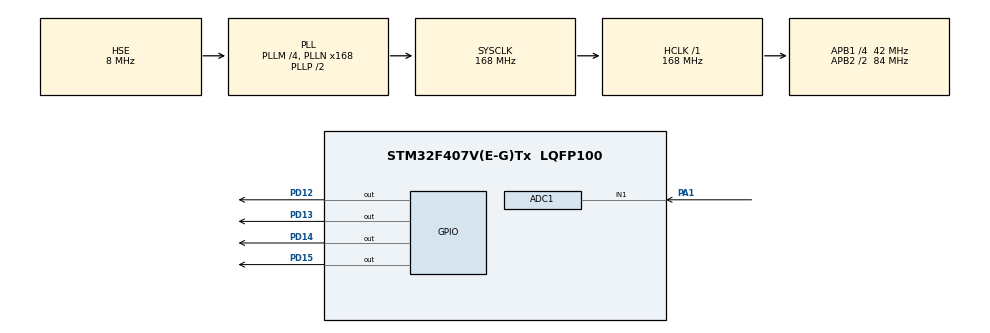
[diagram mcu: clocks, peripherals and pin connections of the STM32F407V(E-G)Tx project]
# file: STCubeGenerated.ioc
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ADC1.Channel-0\#ChannelRegularConversion=ADC_CHANNEL_1
ADC1.Channel-1\#ChannelRegularConversion=ADC_CHANNEL_1
ADC1.ContinuousConvMode=ENABLE
ADC1.NbrOfConversion=2
ADC1.NbrOfConversionFlag=1
ADC1.Rank-0\#ChannelRegularConversion=1
ADC1.Rank-1\#ChannelRegularConversion=2
ADC1.Resolution=ADC_RESOLUTION_10B
ADC1.SamplingTime-0\#ChannelRegularConversion=ADC_SAMPLETIME_3CYCLES
ADC1.SamplingTime-1\#ChannelRegularConversion=ADC_SAMPLETIME_3CYCLES
ADC1.ScanConvMode=ENABLE
ADC1.master=1
Mcu.Family=STM32F4
Mcu.Name=STM32F407V(E-G)Tx
Mcu.Package=LQFP100
NVIC.PriorityGroup=NVIC_PRIORITYGROUP_4
PA1.Signal=ADCx_IN1
PD12.Signal=GPIO_Output
PD13.Signal=GPIO_Output
PD14.Signal=GPIO_Output
PD15.Signal=GPIO_Output
PH0-OSC_IN.Mode=HSE-External-Oscillator
PH0-OSC_IN.Signal=RCC_OSC_IN
PH1-OSC_OUT.Mode=HSE-External-Oscillator
PH1-OSC_OUT.Signal=RCC_OSC_OUT
ProjectManager.HeapSize=0x200
ProjectManager.StackSize=0x400
ProjectManager.TargetToolchain=MDK-ARM V5
RCC.48MHZClocksFreq_Value=84000000
RCC.AHBFreq_Value=168000000
RCC.APB1CLKDivider=RCC_HCLK_DIV4
RCC.APB1Freq_Value=42000000
RCC.APB1TimFreq_Value=84000000
RCC.APB2CLKDivider=RCC_HCLK_DIV2
RCC.APB2Freq_Value=84000000
RCC.APB2TimFreq_Value=168000000
RCC.CortexFreq_Value=168000000
RCC.HCLKFreq_Value=168000000
RCC.HSE_VALUE=8000000
RCC.HSI_VALUE=16000000
RCC.LSE_VALUE=32768
RCC.PLLM=4
RCC.PLLN=168
RCC.PLLSourceVirtual=RCC_PLLSOURCE_HSE
RCC.SYSCLKFreq_VALUE=168000000
RCC.SYSCLKSource=RCC_SYSCLKSOURCE_PLLCLK
RCC.VCOOutputFreq_Value=336000000
SH.ADCx_IN1.0=ADC1_IN1,IN1
board=custom

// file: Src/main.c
/* USER CODE BEGIN Header */
/**
  ******************************************************************************
  * @file           : main.c
  * @brief          : Main program body
  ******************************************************************************
  * @attention
  *
  * Copyright (c) 2023 STMicroelectronics.
  * All rights reserved.
  *
  * This software is licensed under terms that can be found in the LICENSE file
  * in the root directory of this software component.
  * If no LICENSE file comes with this software, it is provided AS-IS.
  *
  ******************************************************************************
  */
/* USER CODE END Header */
#include "main.h"

ADC_HandleTypeDef hadc1;

void SystemClock_Config(void);
static void MX_GPIO_Init(void);
static void MX_ADC1_Init(void);

int main(void)
{

  /* MCU Configuration--------------------------------------------------------*/

  /* Reset of all peripherals, Initializes the Flash interface and the Systick. */
  HAL_Init();

  /* Configure the system clock */
  SystemClock_Config();

  /* Initialize all configured peripherals */
  MX_GPIO_Init();
  MX_ADC1_Init();

  /* Infinite loop */
  /* USER CODE BEGIN WHILE */
	uint32_t adcValue;

  while (1)
  {

		HAL_ADC_Start(&hadc1);
		HAL_ADC_PollForConversion(&hadc1, 100);
		adcValue=HAL_ADC_GetValue(&hadc1);
		HAL_ADC_Stop(&hadc1);

		// direncde max 1 volt var
		if (adcValue<50) {
				HAL_GPIO_WritePin(GPIOD, GPIO_PIN_12, 1);
			  HAL_GPIO_WritePin(GPIOD, GPIO_PIN_13|GPIO_PIN_14|GPIO_PIN_15, 0);
		} else if (adcValue<100) {
				HAL_GPIO_WritePin(GPIOD, GPIO_PIN_13, 1);
			  HAL_GPIO_WritePin(GPIOD, GPIO_PIN_12|GPIO_PIN_14|GPIO_PIN_15, 0);
		} else if (adcValue<150) {
				HAL_GPIO_WritePin(GPIOD, GPIO_PIN_14, 1);
			  HAL_GPIO_WritePin(GPIOD, GPIO_PIN_12|GPIO_PIN_13|GPIO_PIN_15, 0);
		} else if (adcValue<512) {
				HAL_GPIO_WritePin(GPIOD, GPIO_PIN_15, 1);
			  HAL_GPIO_WritePin(GPIOD, GPIO_PIN_12|GPIO_PIN_13|GPIO_PIN_14, 0);
		} else {
			  HAL_GPIO_WritePin(GPIOD, GPIO_PIN_12|GPIO_PIN_13|GPIO_PIN_14, 1);
		}

		HAL_Delay(100);

    /* USER CODE END WHILE */

  }
}

void SystemClock_Config(void)
{
  RCC_OscInitTypeDef RCC_OscInitStruct = {0};
  RCC_ClkInitTypeDef RCC_ClkInitStruct = {0};

  /** Configure the main internal regulator output voltage
  */
  __HAL_RCC_PWR_CLK_ENABLE();
  __HAL_PWR_VOLTAGESCALING_CONFIG(PWR_REGULATOR_VOLTAGE_SCALE1);

  /** Initializes the RCC Oscillators according to the specified parameters
  * in the RCC_OscInitTypeDef structure.
  */
  RCC_OscInitStruct.OscillatorType = RCC_OSCILLATORTYPE_HSE;
  RCC_OscInitStruct.HSEState = RCC_HSE_ON;
  RCC_OscInitStruct.PLL.PLLState = RCC_PLL_ON;
  RCC_OscInitStruct.PLL.PLLSource = RCC_PLLSOURCE_HSE;
  RCC_OscInitStruct.PLL.PLLM = 4;
  RCC_OscInitStruct.PLL.PLLN = 168;
  RCC_OscInitStruct.PLL.PLLP = RCC_PLLP_DIV2;
  RCC_OscInitStruct.PLL.PLLQ = 4;
  if (HAL_RCC_OscConfig(&RCC_OscInitStruct) != HAL_OK)
  {
    Error_Handler();
  }

  /** Initializes the CPU, AHB and APB buses clocks
  */
  RCC_ClkInitStruct.ClockType = RCC_CLOCKTYPE_HCLK|RCC_CLOCKTYPE_SYSCLK
                              |RCC_CLOCKTYPE_PCLK1|RCC_CLOCKTYPE_PCLK2;
  RCC_ClkInitStruct.SYSCLKSource = RCC_SYSCLKSOURCE_PLLCLK;
  RCC_ClkInitStruct.AHBCLKDivider = RCC_SYSCLK_DIV1;
  RCC_ClkInitStruct.APB1CLKDivider = RCC_HCLK_DIV4;
  RCC_ClkInitStruct.APB2CLKDivider = RCC_HCLK_DIV2;

  if (HAL_RCC_ClockConfig(&RCC_ClkInitStruct, FLASH_LATENCY_5) != HAL_OK)
  {
    Error_Handler();
  }
}

static void MX_ADC1_Init(void)
{

  ADC_ChannelConfTypeDef sConfig = {0};

  /** Configure the global features of the ADC (Clock, Resolution, Data Alignment and number of conversion)
  */
  hadc1.Instance = ADC1;
  hadc1.Init.ClockPrescaler = ADC_CLOCK_SYNC_PCLK_DIV4;
  hadc1.Init.Resolution = ADC_RESOLUTION_10B;
  hadc1.Init.ScanConvMode = ENABLE;
  hadc1.Init.ContinuousConvMode = ENABLE;
  hadc1.Init.DiscontinuousConvMode = DISABLE;
  hadc1.Init.ExternalTrigConvEdge = ADC_EXTERNALTRIGCONVEDGE_NONE;
  hadc1.Init.ExternalTrigConv = ADC_SOFTWARE_START;
  hadc1.Init.DataAlign = ADC_DATAALIGN_RIGHT;
  hadc1.Init.NbrOfConversion = 2;
  hadc1.Init.DMAContinuousRequests = DISABLE;
  hadc1.Init.EOCSelection = ADC_EOC_SINGLE_CONV;
  if (HAL_ADC_Init(&hadc1) != HAL_OK)
  {
    Error_Handler();
  }

  /** Configure for the selected ADC regular channel its corresponding rank in the sequencer and its sample time.
  */
  sConfig.Channel = ADC_CHANNEL_1;
  sConfig.Rank = 1;
  sConfig.SamplingTime = ADC_SAMPLETIME_3CYCLES;
  if (HAL_ADC_ConfigChannel(&hadc1, &sConfig) != HAL_OK)
  {
    Error_Handler();
  }

  /** Configure for the selected ADC regular channel its corresponding rank in the sequencer and its sample time.
  */
  sConfig.Rank = 2;
  if (HAL_ADC_ConfigChannel(&hadc1, &sConfig) != HAL_OK)
  {
    Error_Handler();
  }

}

static void MX_GPIO_Init(void)
{
  GPIO_InitTypeDef GPIO_InitStruct = {0};

  /* GPIO Ports Clock Enable */
  __HAL_RCC_GPIOH_CLK_ENABLE();
  __HAL_RCC_GPIOA_CLK_ENABLE();
  __HAL_RCC_GPIOD_CLK_ENABLE();

  /*Configure GPIO pin Output Level */
  HAL_GPIO_WritePin(GPIOD, GPIO_PIN_12|GPIO_PIN_13|GPIO_PIN_14|GPIO_PIN_15, GPIO_PIN_RESET);

  /*Configure GPIO pins : PD12 PD13 PD14 PD15 */
  GPIO_InitStruct.Pin = GPIO_PIN_12|GPIO_PIN_13|GPIO_PIN_14|GPIO_PIN_15;
  GPIO_InitStruct.Mode = GPIO_MODE_OUTPUT_PP;
  GPIO_InitStruct.Pull = GPIO_NOPULL;
  GPIO_InitStruct.Speed = GPIO_SPEED_FREQ_LOW;
  HAL_GPIO_Init(GPIOD, &GPIO_InitStruct);

}

void Error_Handler(void)
{
  __disable_irq();
  while (1)
  {
  }
}
